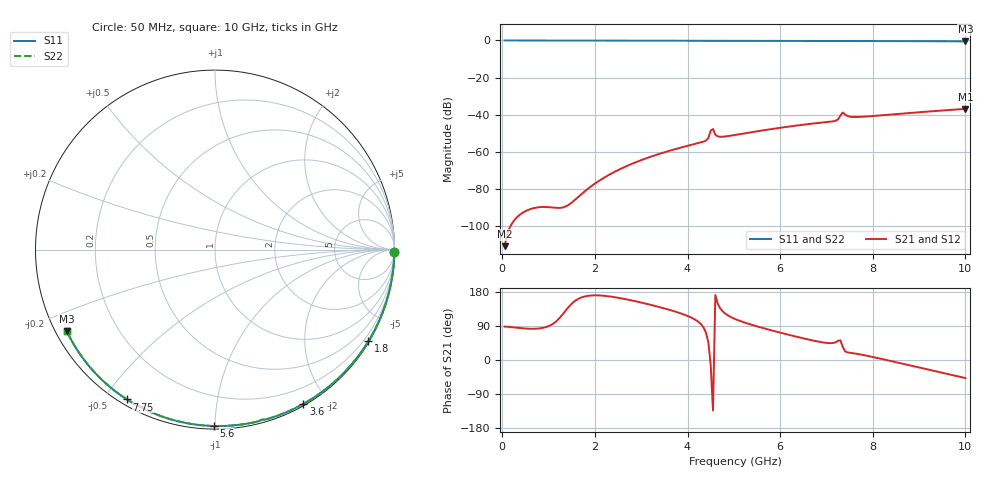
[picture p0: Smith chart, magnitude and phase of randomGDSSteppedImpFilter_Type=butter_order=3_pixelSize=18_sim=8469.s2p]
! freq	dB(S11)	phase(S11)	dB(S12)	phase(S12)
!  dB(S21)	phase(S21)	dB(S22)	phase(S22)
!S-par simulation data
#  GHz  S  DB  R 50
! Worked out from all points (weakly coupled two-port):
!   200 points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, 50 MHz to 10 GHz, reference 50 ohm
!   highest |S21| = -36.92 dB at 10 GHz (marker M1); lowest = -111.0 dB at 50 MHz (marker M2)
!   lowest |S11| = -0.5 dB at 10 GHz (marker M3), VSWR 34.02, Z = 1.57 - j12.9 ohm
!   |S11| at or under -10 dB: nowhere
!   |S22| runs from -0.5 to 0.0 dB; largest |S21 - S12| = 0
!   S11 on the Smith chart (normalised r, x): 50 MHz: open; 1.8 GHz: 0.03, -3.62; 3.6 GHz: 0.02, -1.72; 5.6 GHz: 0.02, -0.99; 7.75 GHz: 0.02, -0.57; 10 GHz: 0.03, -0.26
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0.05  -0.00 -0.9  -110.98 88.2  -110.98 88.2  -0.00 -0.9
1.75  -0.04 -30.0  -82.04 166.7  -82.04 166.7  -0.04 -30.0
1.8  -0.04 -30.9  -80.99 168.2  -80.99 168.2  -0.04 -30.9
2.55  -0.06 -43.3  -69.33 163.2  -69.33 163.2  -0.06 -43.3
3.4  -0.08 -57.1  -61.11 139.4  -61.11 139.4  -0.08 -57.1
3.6  -0.08 -60.2  -59.59 132.7  -59.59 132.7  -0.08 -60.2
4.4  -0.11 -72.7  -53.90 71.4  -53.90 71.4  -0.11 -72.7
4.45  -0.11 -73.5  -52.60 46.5  -52.60 46.5  -0.11 -73.5
4.5  -0.14 -74.3  -48.70 -13.3  -48.70 -13.3  -0.14 -74.3
4.55  -0.15 -74.7  -47.75 -133.3  -47.75 -133.3  -0.15 -74.7
4.6  -0.12 -75.5  -50.80 171.6  -50.80 171.6  -0.12 -75.5
4.65  -0.12 -76.3  -51.73 149.3  -51.73 149.3  -0.12 -76.3
5.05  -0.13 -82.4  -50.89 107.0  -50.89 107.0  -0.13 -82.4
5.6  -0.15 -90.4  -48.62 85.3  -48.62 85.3  -0.15 -90.4
6.7  -0.21 -106.1  -44.84 51.6  -44.84 51.6  -0.21 -106.1
7.2  -0.24 -113.1  -43.32 47.0  -43.32 47.0  -0.24 -113.1
7.25  -0.25 -113.8  -42.58 50.6  -42.58 50.6  -0.25 -113.8
7.35  -0.29 -115.0  -38.86 35.3  -38.86 35.3  -0.29 -115.0
7.5  -0.26 -117.0  -41.08 19.1  -41.08 19.1  -0.26 -117.0
7.75  -0.28 -120.5  -41.21 14.3  -41.21 14.3  -0.28 -120.5
8.35  -0.33 -128.6  -40.05 -1.6  -40.05 -1.6  -0.33 -128.6
10  -0.51 -151.1  -36.92 -47.7  -36.92 -47.7  -0.51 -151.1
